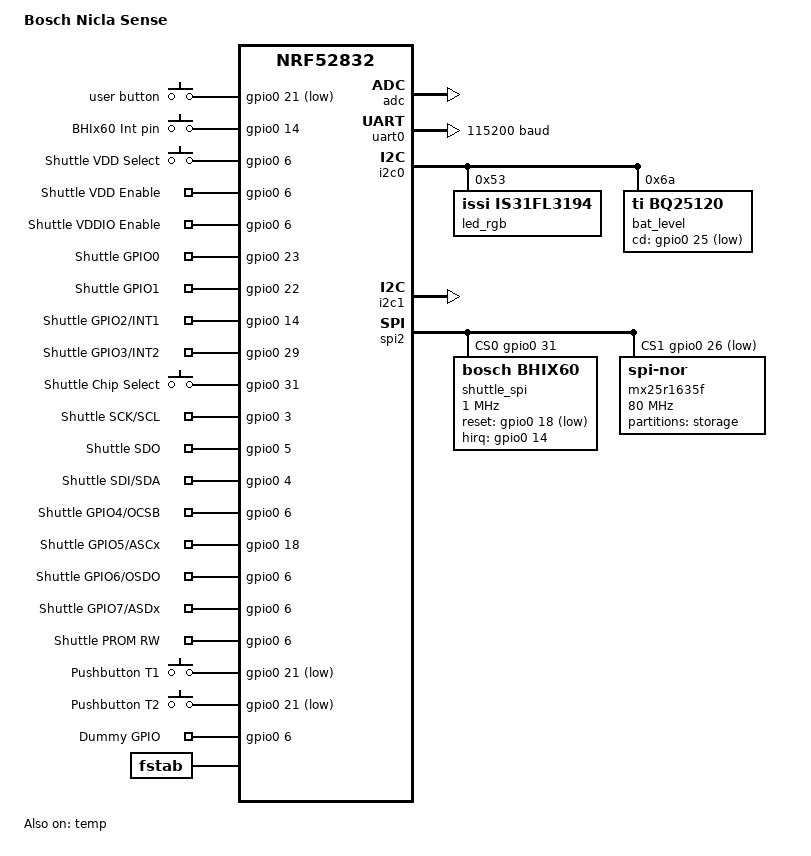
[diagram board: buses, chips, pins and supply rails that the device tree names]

/*
 * Copyright (c) 2023 Bosch Sensortec GmbH
 * DTS for Arduino Nicla Sense ME board pre-configured 
 * for Bosch Sensortec Drivers and COINES library
 * Derived from arduino_nicla_sense_me.dts by Benjamin Björnsson.
 *
 * SPDX-License-Identifier: Apache-2.0
 */

/dts-v1/;
#include <nordic/nrf52832_qfaa.dtsi>
#include "bosch_nicla_sense-pinctrl.dtsi"

/ {
	model = "Bosch Nicla Sense";
	compatible = "arduino,bosch_nicla_sense";

	gpio_keys {
		compatible = "gpio-keys";
		user_button: button {
			label = "user button";
			gpios = <&gpio0 21 GPIO_ACTIVE_LOW>;
			status = "okay";
		};
	};

	chosen {
		zephyr,console = &uart0;
		zephyr,shell-uart = &uart0;
		zephyr,uart-mcumgr = &uart0;
		zephyr,bt-mon-uart = &uart0;
		zephyr,bt-c2h-uart = &uart0;
		zephyr,sram = &sram0;
		zephyr,flash = &flash0;
		zephyr,code-partition = &slot0_partition;
	};

	aliases {
		sw0 = &user_button;
		watchdog0 = &wdt0;
		spi-flash0 = &mx25r1635f;
	};

	/*Define "Wake-Up" GPIO pin for Power Management*/
	wup {
		compatible = "gpio-keys";
		wup0: wup_0 {
			gpios = <&gpio0 14 GPIO_ACTIVE_HIGH>;	/*Interrupt-OUT pin of BHI260*/
			label = "BHIx60 Int pin";
						status = "okay";
		};
	};
    /*Map AB3 Shuttle Board Control Pins to equivalent NICLA pins
    So that COINES GPIO enums do not need to be changed*/
	shuttle_board {
		compatible = "gpio-keys";
		shuttle_vdd_sel: shuttle_vdd_sel {
			gpios = <&gpio0 6 GPIO_ACTIVE_HIGH>;    //P0.06 is an unused nrf52382 GPIO pin in NICLA & ANNA-B112
			label = "Shuttle VDD Select";           //dummy in NICLA
		};
		shuttle_vdd_en: shuttle_vdd_en {            
			gpios = <&gpio0 6 GPIO_ACTIVE_HIGH>;    //dummy in NICLA
			label = "Shuttle VDD Enable";
		};
		shuttle_vddio_en: shuttle_vddio_en {        
			gpios = <&gpio0 6 GPIO_ACTIVE_HIGH>;    //dummy in NICLA
			label = "Shuttle VDDIO Enable";
		};
		
		//BHY260 M3SCL is connected to NRF pin 23. 
		//On SB, this corresponds to shuttle pin GPIO0 (Shuttle P1.4)
		//On NICLA, this is SCL of I2C1 (shuttle_i2c)
		shuttle_gpio0: shuttle_pin_1_4: shuttle_gpio0 {
			gpios = <&gpio0 23 GPIO_ACTIVE_HIGH>;
			label = "Shuttle GPIO0";
		};
		
		//BHY260 M3SDA  is connected to NRF pin 22. 
		//On SB, this corresponds to shuttle pin GPIO1 (Shuttle P1.5)
		//On NICLA, this is SDA of I2C1 (shuttle_i2c)
		shuttle_gpio1: shuttle_pin_1_5: shuttle_gpio1 {
			gpios = <&gpio0 22 GPIO_ACTIVE_HIGH>;
			label = "Shuttle GPIO1";
		};
		
		//BHY260 HIRQ is connected to NRF pin 14 (GPIO13 in NICLA schematics). 
		//On SB, this corresponds to shuttle pin GPIO2/INT1 (Shuttle P1.6)
		shuttle_gpio2_int1: shuttle_pin_1_6: shuttle_gpio2_int1 {
			gpios = <&gpio0 14 GPIO_ACTIVE_HIGH>;	
			label = "Shuttle GPIO2/INT1";
		};

		//BHY260 MCSB4 is connected to NRF pin 29 (CS1 in NICLA schematics). 
		//On SB, this corresponds to shuttle pin GPIO3/INT2 (Shuttle P1.7)		
		shuttle_gpio3_int2: shuttle_pin_1_7: shuttle_gpio3_int2 {
			gpios = <&gpio0 29 GPIO_ACTIVE_HIGH>;
			label = "Shuttle GPIO3/INT2";
		};
		//Shuttle CS (BHI260 HCSB on BHI260 SB) --> CS0 in NICLA 
		shuttle_cs: shuttle_pin_2_1: shuttle_cs {
			gpios = <&gpio0 31 GPIO_ACTIVE_HIGH>;
			label = "Shuttle Chip Select";
		};
		//Shuttle SCK (BHI260 HSCx on BHI260 SB) --> SCLK0 in Nicla
		shuttle_sck_scl: shuttle_pin_2_2: shuttle_sck_scl {
			gpios = <&gpio0 3 GPIO_ACTIVE_HIGH>;
			label = "Shuttle SCK/SCL";
		};
		//Shuttle SDO (BHI260 HSDO on BHI260 SB) --> CIPO0 in Nicla
		shuttle_sdo: shuttle_pin_2_3: shuttle_sdo {
			gpios = <&gpio0 5 GPIO_ACTIVE_HIGH>;
			label = "Shuttle SDO";
		};
		//Shuttle SDI/SDA (BHI260 HSDX on BHI260 SB) --> COPI0 in Nicla
		shuttle_sdi_sda: shuttle_pin_2_4: shuttle_sdi_sda {
			gpios = <&gpio0 4 GPIO_ACTIVE_HIGH>;
			label = "Shuttle SDI/SDA";
		};
		//Shuttle GPIO4_OSCB (NC  on BHI260 SB) -->  dummy in Nicla
		shuttle_gpio4_ocsb: shuttle_pin_2_5: shuttle_gpio4_ocsb {
			gpios = <&gpio0 6 GPIO_ACTIVE_HIGH>;			//dummy in NICLA
			label = "Shuttle GPIO4/OCSB";
		};
		//Shuttle GPIO5/ASCX (BHI260 RESETN on BHI260 SB) --> SWO/GPIO16/BHI260_RESET in Nicla
		shuttle_gpio5_ascx: shuttle_pin_2_6: shuttle_gpio5_ascx {
			gpios = <&gpio0 18 GPIO_ACTIVE_HIGH>;
			label = "Shuttle GPIO5/ASCx";
		};
		//Shuttle GPIO6/OSDO (NC on BHI260 SB) --> dummy in Nicla
		shuttle_gpio6_osdo: shuttle_pin_2_7: shuttle_gpio6_osdo {
			gpios = <&gpio0 6 GPIO_ACTIVE_HIGH>;			//dummy in NICLA
			label = "Shuttle GPIO6/OSDO";
		};
		//Shuttle GPIO7/ASDX (NC on BHI260 SB) --> dummy in Nicla
		shuttle_gpio7_asdx: shuttle_pin_2_8: shuttle_gpio7_asdx {
			gpios = <&gpio0 6 GPIO_ACTIVE_HIGH>;			//dummy in NICLA
			label = "Shuttle GPIO7/ASDx";
		};
		//Shuttle prom_rw (PROM_RW on BHI260 SB) --> dummy in Nicla
		shuttle_prom_rw: shuttle_pin_2_9: shuttle_prom_rw {
			gpios = <&gpio0 6 GPIO_ACTIVE_HIGH>;			//dummy in NICLA
			label = "Shuttle PROM RW";
		};
		//AB3 Buttons --> both mapped to Reset button in Nicla
		button_t1: button0: button_0 {
			gpios = <&gpio0 21 (GPIO_PULL_UP | GPIO_ACTIVE_LOW)>;
			label = "Pushbutton T1";
		};
		button_t2: button1: button_1 {
			gpios = <&gpio0 21 (GPIO_PULL_UP | GPIO_ACTIVE_LOW)>;
			label = "Pushbutton T2";
		};
		//AB3 LEDs --> all mapped to dummy in NICLA, as NICLA LED uses I2C
		led_red: led_green: led_blue: dummy_gpio: dummy_gpio {
			gpios = <&gpio0 6 GPIO_ACTIVE_HIGH>;    //P0.06 is an unused nrf52382 GPIO pin in NICLA & ANNA-B112
			label = "Dummy GPIO";           		//dummy in NICLA
		};
	};
	
	/*littlefs partition on external spi flash mx25r1635f 16MB
	NOTE: the NICLA Reference manual incorrectly refers to this as MX231835 2MB
	The correct chip is in the NICLA schematics, as well as in the NICLA DTS*/
	fstab {
		compatible = "zephyr,fstab";
		lfs1: lfs1 {
			compatible = "zephyr,fstab,littlefs";
			mount-point = "/lfs1";
			partition = <&logging_partition>;
			automount;
			
			read-size = <16>;
			prog-size = <16>;
			cache-size = <64>;
			lookahead-size = <32>;
			block-cycles = <512>; 
			
		};
	};
	/*Simulated shuttle eeprom of BHI260 shuttle board.*/
	sprom: shuttle_prom {
		compatible = "dummy-eeprom";
		status = "okay";
		/*pre-programmed shuttle eeprom data. Contains shuttle ID for BHI260 
		shuttle board at offset 0x01 (0x159 => [01][89] in small endian order)
		Size is kept same as EEPROM on AB3.0 i.e. 112 bytes(8x2x7)*/
		  	eeprom-data = <
			    0 89 01 0 0 0 0 0  0 0 0 0 0 0 0 0 
				0 0 0 0 0 0 0 0  0 0 0 0 0 0 0 0 
				0 0 0 0 0 0 0 0  0 0 0 0 0 0 0 0 
				0 0 0 0 0 0 0 0  0 0 0 0 0 0 0 0 
				0 0 0 0 0 0 0 0  0 0 0 0 0 0 0 0 
				0 0 0 0 0 0 0 0  0 0 0 0 0 0 0 0 
				0 0 0 0 0 0 0 0  0 0 0 0 0 0 0 0 
			>;
	};
};

&adc {
	status = "okay";
};

&gpiote {
	status = "okay";
};

&gpio0 {
	status = "okay";
};

uart_dev: &uart0 {
	compatible = "nordic,nrf-uarte";
	status = "okay";
	current-speed = <115200>;
	pinctrl-0 = <&uart0_default>;
	pinctrl-1 = <&uart0_sleep>;
	pinctrl-names = "default", "sleep";
};

/*Use nRF TEMP module as board temperature device
A modified driver that approximates ambient temperature
from die temperature is used in this case*/
temp_dev: &temp {
	//label = "TEMP_0";
	compatible = "nordic,nrf-temp-amb";
	status = "okay";
};

/* I2C0 in datasheet */
/*I2C0 Pins are connected to LED+Battery Charger in NICLA schematic
   no correspondence with AB3 pins*/
&i2c0 {
	compatible = "nordic,nrf-twim";
	status = "okay";
	pinctrl-0 = <&i2c0_default>;
	pinctrl-1 = <&i2c0_sleep>;
	pinctrl-names = "default", "sleep";
	led_rgb: fl3194@53 {
		compatible = "issi,is31fl3194";
		reg = <0x53>;
		status = "okay";
		//label = "FL3194";
	};
	bat_level: bq25120@6a {
		compatible = "ti,bq25120";
		status = "okay";
		reg = <0x6a>;
		//label = "BQ25120";
		cd-gpios = <&gpio0 25 GPIO_ACTIVE_LOW>;
		sys_vout_mv = <1800>;	//Output voltage of SYS in mv - min 1100, max 3300, 0 to disable (0,1.1-3.3V)
		ls_ldo_mv = <1800>;		//Output voltage of LS/LDO in mv - min 800, max 3300, 0 to disable (0,0.8-3.3V)
		/*settings for LP4030 3.7 V, 450mAH battery*/
		bat_reg_mv = <3700>;	//regulation voltage of battery in mv (3.6-4.65V)
		ilim_ma = <200>;		//Input current limit of device in mA. (50-400 mA)
		bat_uvlo_mv = <2750>;	//Battery under-voltage lockout in mV (2.2-3 V, Disable UVLO:0)
		icharge_ma = <200>; 	//Charging current in mA (5-300mA, Disable Charger:0)
		ipreterm_ua = <20000>;	//pre-charging current/terminating current in uA 
								//(500uA to 37000uA (37mA), Disable Termination:0)
								//This is charging current at start and end of charging, usually 10% of peak
	};

};

/* I2C1 in datasheet */
/*I2C1 pins are connected to BHI260 I2C M3 SCL/SDA and to I2C pins on external J2 connector
This can be designated either COINES shuttle_aux_i2c or shuttle_i2c, depending on project requirement
Note that both spi1 and i2c1 cannot be activated simultaneously. 
Enable following node only after disabling spi1 node*/
shuttle_i2c: &i2c1 {
	compatible = "nordic,nrf-twim";
	/* Cannot be used together with spi1. */
	status = "okay";
	pinctrl-0 = <&i2c1_default>;
	pinctrl-1 = <&i2c1_sleep>;
	pinctrl-names = "default", "sleep";
};

/* SPI1 in datasheet */
/*SPI1 pins are connected to BHI260 M2 SPI pins and to SPI pins on external J2 connector
This can be designated COINES shuttle_aux_spi, depending on project requirement
Note that Both spi1 and i2c1 cannot be activated simultaneously. 
Enable following node only after disabling i2c1 node*/
shuttle_aux_spi: &spi1 {
	compatible = "nordic,nrf-spim";
	/* Cannot be used together with i2c1. */
	/* status = "okay"; */
	pinctrl-0 = <&spi1_default>;
	pinctrl-1 = <&spi1_sleep>;
	pinctrl-names = "default", "sleep";
};

/* SPI0 in datasheet */
/* SPI2 module is used as shuttle_spi i.e. as main SPI connection to BHI260 and NOR Flash
 * because that is how it is defined in arduino_nicla_sense_me.dts
 * Note however that corresponding pins in the pinctrl dtsi are referred to as SPI0 
 in NICLA datasheet
 */
&spi2 {
	compatible = "nordic,nrf-spi";
	status = "okay";
	pinctrl-0 = <&spi2_default>;
	pinctrl-1 = <&spi2_sleep>;
	pinctrl-names = "default", "sleep";
	//0: CS of BHI260 1:CS of Flash
	cs-gpios = <&gpio0 31 GPIO_ACTIVE_HIGH>,<&gpio0 26 GPIO_ACTIVE_LOW>;
	
	 shuttle_spi: bhix60_dev: bhix60@0 {
		compatible = "bosch,bhix60";
		reg = <0>;
		spi-max-frequency = <1000000>;//<20000000>;
		//label = "bhix60";
		status = "okay";
		reset-gpios = <&gpio0 18 GPIO_ACTIVE_LOW>;	//reset pin of BHI260
		hirq-gpios = <&gpio0 14 GPIO_ACTIVE_HIGH>;	//Interrupt-OUT pin of BHI260 
	};

	/delete-node/ mx25r1635f@0;
	
	mx25r1635f: mx25r1635f@1 {
		compatible = "jedec,spi-nor";
		reg = <1>;
		spi-max-frequency = <80000000>;
		//label = "MX25R163F";
		jedec-id = [c2 28 15];
		size = <DT_SIZE_M(2*8)>;	//mx25r1635f size is 16Mbits (2 MBytes). Flash Size parameter is given in Mbits 
		has-dpd;
		t-enter-dpd = <10000>;
		t-exit-dpd = <35000>;
		status = "okay";
		partitions {
			compatible = "fixed-partitions";
			#address-cells = <1>;
			#size-cells = <1>;

			logging_partition: partition@0 {
				label = "storage";
				reg = <0x00000000 DT_SIZE_M(2)>;//2 Mbytes (sector size is given in MBytes, not Mbits as above)
			};
		};
	};
	
};

&flash0 {
	partitions {
		compatible = "fixed-partitions";
		#address-cells = <1>;
		#size-cells = <1>;

		boot_partition: partition@0 {
			label = "sam-ba";
			reg = <0x00000000 0x00010000>;
			read-only;
		};
		slot0_partition: partition@10000 {
			label = "image-0";
			reg = <0x00010000 0x30000>;
		};
		slot1_partition: partition@40000 {
			label = "image-1";
			reg = <0x00040000 0x30000>;
		};
		scratch_partition: partition@70000 {
			label = "image-scratch";
			reg = <0x00070000 0xa000>;
		};
		//Override the storage_partition in the arduino_nicla_sense_me.dts so that the
		//"storage" label can be applied to the SPI flash sector. This is
		//required for proper functioning of littlefs
		storage_partition: partition@7a000 {
			label = "storage2"; 
			reg = <0x0007a000 0x00006000>;
		};
	};
};
